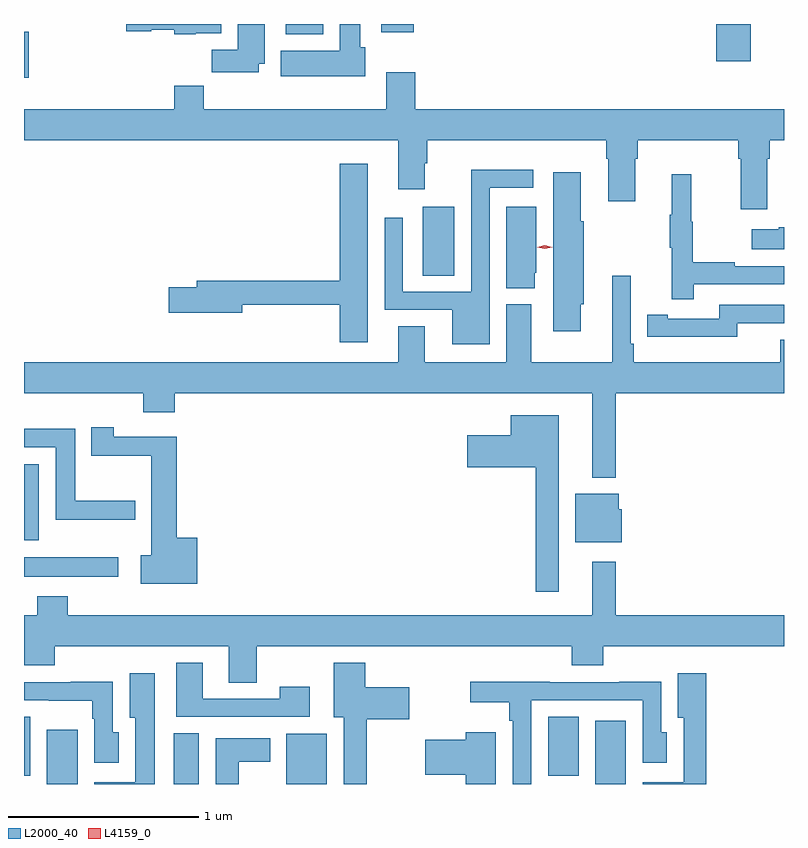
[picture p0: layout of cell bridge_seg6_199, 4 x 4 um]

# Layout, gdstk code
import gdstk
lib = gdstk.Library(unit=1e-6, precision=1e-09)
def R(c, l, rs):  # rectangles x0, y0, x1, y1
    for r in rs: c.add(gdstk.rectangle(r[:2], r[2:], *l))
def P(c, l, *ps):  # polygons
    for p in ps: c.add(gdstk.Polygon(p, *l))
L2000_40 = (2000, 40)
L4159_0 = (4159, 0)

bridge_seg6_199 = lib.new_cell('bridge_seg6_199')
R(bridge_seg6_199, L2000_40, [(239.51,973.252,239.671,973.537), (240.176,973.252,240.31,973.52), (240.77,973.252,240.982,973.516), (242.396,973.252,242.557,973.585), (239.389,973.296,239.422,973.607), (242.147,973.296,242.308,973.607), (239.389,974.342,239.884,974.446), (239.389,974.534,239.467,974.935), (241.487,975.928,241.654,976.291), (239.389,976.97,239.413,977.212), (243.032,977.055,243.215,977.252), (240.767,977.198,240.963,977.252), (241.268,977.208,241.439,977.252)])
P(bridge_seg6_199, L2000_40, [(241.186,977.13),(241.159,977.13),(241.159,977.252),(241.052,977.252),(241.052,977.11),(240.74,977.11),(240.74,976.976),(241.186,976.976)],
  [(240.294,977.204),(240.427,977.204),(240.427,977.252),(239.928,977.252),(239.928,977.215),(240.06,977.215),(240.06,977.222),(240.18,977.222),(240.18,977.198),(240.294,977.198)],
  [(240.625,977.042),(240.655,977.042),(240.655,977.252),(240.515,977.252),(240.515,977.116),(240.376,977.116),(240.376,976.998),(240.625,976.998)],
  [(243.301,976.544),(243.314,976.544),(243.314,976.64),(243.389,976.64),(243.389,976.804),(241.448,976.804),(241.448,976.999),(241.295,976.999),(241.295,976.804),(240.335,976.804),(240.335,976.928),(240.179,976.928),(240.179,976.804),(239.389,976.804),(239.389,976.64),(241.358,976.64),(241.358,976.383),(241.498,976.383),(241.498,976.52),(241.511,976.52),(241.511,976.64),(242.453,976.64),(242.453,976.544),(242.465,976.544),(242.465,976.32),(242.605,976.32),(242.605,976.544),(242.618,976.544),(242.618,976.64),(243.149,976.64),(243.149,976.544),(243.161,976.544),(243.161,976.278),(243.301,976.278)],
  [(241.198,976.516),(241.052,976.516),(241.052,975.902),(240.299,975.902),(240.299,975.866),(240.15,975.866),(240.15,975.731),(240.538,975.731),(240.538,975.774),(241.052,975.774),(241.052,975.576),(241.198,975.576)],
  [(241.839,976.389),(242.068,976.389),(242.068,976.486),(241.743,976.486),(241.743,975.843),(241.383,975.843),(241.383,976.231),(241.287,976.231),(241.287,975.747),(241.643,975.747),(241.643,975.566),(241.839,975.566)],
  [(242.32,975.777),(242.335,975.777),(242.335,976.213),(242.32,976.213),(242.32,976.471),(242.174,976.471),(242.174,975.636),(242.32,975.636)],
  [(242.915,975.882),(243.389,975.882),(243.389,975.978),(243.131,975.978),(243.131,975.998),(242.908,975.998),(242.908,976.212),(242.9,976.212),(242.9,976.462),(242.798,976.462),(242.798,976.249),(242.787,976.249),(242.787,976.075),(242.798,976.075),(242.798,975.804),(242.915,975.804)],
  [(242.077,975.942),(242.086,975.942),(242.086,976.291),(241.928,976.291),(241.928,975.862),(242.077,975.862)],
  [(243.389,976.181),(243.362,976.181),(243.362,976.171),(243.219,976.171),(243.219,976.067),(243.389,976.067)],
  [(242.503,975.308),(243.389,975.308),(243.389,975.589),(243.368,975.589),(243.368,975.472),(242.597,975.472),(242.597,975.568),(242.583,975.568),(242.583,975.928),(242.486,975.928),(242.486,975.472),(242.059,975.472),(242.059,975.777),(241.928,975.777),(241.928,975.472),(241.498,975.472),(241.498,975.662),(241.358,975.662),(241.358,975.472),(239.389,975.472),(239.389,975.308),(240.017,975.308),(240.017,975.209),(240.182,975.209),(240.182,975.308),(242.381,975.308),(242.381,974.864),(242.503,974.864)],
  [(243.144,975.678),(243.389,975.678),(243.389,975.774),(243.048,975.774),(243.048,975.702),(242.776,975.702),(242.776,975.722),(242.668,975.722),(242.668,975.606),(242.776,975.606),(242.776,975.605),(243.144,975.605)],
  [(242.203,975.193),(241.952,975.193),(241.952,975.088),(241.722,975.088),(241.722,974.918),(242.082,974.918),(242.082,974.265),(242.203,974.265)],
  [(240.301,974.548),(240.194,974.548),(240.194,975.079),(239.862,975.079),(239.862,975.13),(239.744,975.13),(239.744,974.98),(240.059,974.98),(240.059,974.456),(240.003,974.456),(240.003,974.306),(240.301,974.306)],
  [(239.974,974.742),(239.659,974.742),(239.659,975.122),(239.389,975.122),(239.389,975.024),(239.555,975.024),(239.555,974.642),(239.974,974.642)],
  [(242.536,974.697),(242.518,974.697),(242.518,974.779),(242.291,974.779),(242.291,974.525),(242.536,974.525)],
  [(240.615,973.976),(242.273,973.976),(242.273,973.877),(242.438,973.877),(242.438,973.976),(243.389,973.976),(243.389,974.14),(242.503,974.14),(242.503,974.422),(242.381,974.422),(242.381,974.14),(239.618,974.14),(239.618,974.239),(239.458,974.239),(239.458,974.14),(239.389,974.14),(239.389,973.877),(239.552,973.877),(239.552,973.976),(240.467,973.976),(240.467,973.786),(240.615,973.786)],
  [(240.892,973.765),(240.736,973.765),(240.736,973.701),(240.331,973.701),(240.331,973.891),(240.191,973.891),(240.191,973.605),(240.892,973.605)],
  [(241.194,973.592),(241.417,973.592),(241.417,973.762),(241.186,973.762),(241.186,973.891),(241.019,973.891),(241.019,973.604),(241.073,973.604),(241.073,973.252),(241.194,973.252)],
  [(242.98,973.834),(242.831,973.834),(242.831,973.601),(242.861,973.601),(242.861,973.26),(242.646,973.26),(242.646,973.252),(242.98,973.252)],
  [(240.076,973.834),(239.945,973.834),(239.945,973.601),(239.975,973.601),(239.975,973.26),(239.76,973.26),(239.76,973.252),(240.076,973.252)],
  [(242.058,973.692),(242.646,973.692),(242.646,973.365),(242.773,973.365),(242.773,973.524),(242.742,973.524),(242.742,973.79),(242.521,973.79),(242.521,973.788),(242.155,973.788),(242.155,973.79),(241.737,973.79),(241.737,973.682),(241.942,973.682),(241.942,973.586),(241.962,973.586),(241.962,973.252),(242.058,973.252)],
  [(239.887,973.524),(239.856,973.524),(239.856,973.79),(239.635,973.79),(239.635,973.788),(239.389,973.788),(239.389,973.692),(239.518,973.692),(239.518,973.691),(239.748,973.691),(239.748,973.595),(239.76,973.595),(239.76,973.365),(239.887,973.365)],
  [(241.873,973.525),(241.715,973.525),(241.715,973.484),(241.5,973.484),(241.5,973.301),(241.715,973.301),(241.715,973.252),(241.873,973.252)],
  [(240.52,973.37),(240.685,973.37),(240.685,973.492),(240.398,973.492),(240.398,973.252),(240.52,973.252)])
P(bridge_seg6_199, L4159_0, [(242.13,976.068),(242.09,976.078),(242.09,976.078),(242.09,976.078),(242.13,976.088),(242.17,976.078),(242.17,976.078),(242.17,976.078)])

lib.write_gds('bridge_seg6_199.gds')
